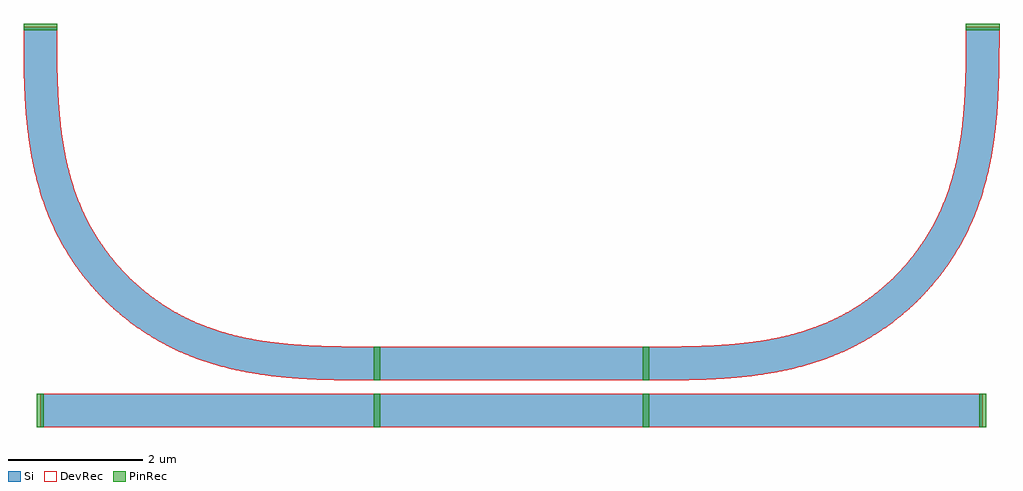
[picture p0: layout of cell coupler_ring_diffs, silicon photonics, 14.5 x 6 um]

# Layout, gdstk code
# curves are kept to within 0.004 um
import gdstk
lib = gdstk.Library(unit=1e-6, precision=1e-09)
def R(c, l, rs):  # rectangles x0, y0, x1, y1
    for r in rs: c.add(gdstk.rectangle(r[:2], r[2:], *l))
def P(c, l, *ps):  # polygons
    for p in ps: c.add(gdstk.Polygon(p, *l))
Si = (1, 0)
PinRec = (1, 10)
DevRec = (68, 0)

coupler_ring_old = lib.new_cell('coupler_ring_old')
R(coupler_ring_old, Si, [(-9,-0.25,-4,0.25), (-4,-0.25,0,0.25), (0,-0.25,5,0.25), (-4,0.45,0,0.95)])
P(coupler_ring_old, Si, [(-4.023,0.45),(-4.587,0.453),(-5.086,0.471),(-5.494,0.505),(-5.926,0.568),(-6.286,0.648),(-6.57,0.732),(-6.826,0.828),(-6.987,0.899),(-7.131,0.971),(-5.057,0.971),(-4.578,0.953),(-4,0.95),(-4,0.45)],
  [(-7.145,0.978),(-7.406,1.129),(-7.593,1.256),(-7.714,1.347),(-7.888,1.492),(-8.017,1.612),(-8.241,1.85),(-7.538,1.85),(-7.318,1.674),(-7.045,1.494),(-6.755,1.342),(-6.452,1.22),(-6.307,1.173),(-6.095,1.115),(-5.77,1.048),(-5.439,1.002),(-5.057,0.971),(-7.131,0.971)],
  [(-8.257,1.869),(-8.429,2.086),(-8.571,2.294),(-8.662,2.445),(-8.801,2.713),(-8.891,2.92),(-8.976,3.154),(-9.046,3.391),(-9.108,3.654),(-8.596,3.654),(-8.527,3.393),(-8.45,3.166),(-8.358,2.945),(-8.206,2.655),(-8.064,2.435),(-7.891,2.21),(-7.73,2.032),(-7.538,1.85),(-8.241,1.85)],
  [(-9.113,3.678),(-9.171,4.014),(-9.205,4.302),(-9.226,4.566),(-9.245,5.018),(-9.25,5.7),(-8.75,5.7),(-8.744,4.984),(-8.719,4.485),(-8.698,4.261),(-8.666,4.018),(-8.596,3.654),(-9.108,3.654)],
  [(0.023,0.45),(0.587,0.453),(1.086,0.471),(1.494,0.505),(1.926,0.568),(2.286,0.648),(2.57,0.732),(2.826,0.828),(2.987,0.899),(3.131,0.971),(1.057,0.971),(0.578,0.953),(0,0.95),(0,0.45)],
  [(3.145,0.978),(3.406,1.129),(3.593,1.256),(3.714,1.347),(3.888,1.492),(4.017,1.612),(4.241,1.85),(3.538,1.85),(3.318,1.674),(3.045,1.494),(2.755,1.342),(2.452,1.22),(2.307,1.173),(2.095,1.115),(1.77,1.048),(1.439,1.002),(1.057,0.971),(3.131,0.971)],
  [(4.257,1.869),(4.429,2.086),(4.571,2.294),(4.662,2.445),(4.801,2.713),(4.891,2.92),(4.976,3.154),(5.046,3.391),(5.108,3.654),(4.596,3.654),(4.527,3.393),(4.45,3.166),(4.358,2.945),(4.206,2.655),(4.064,2.435),(3.891,2.21),(3.73,2.032),(3.538,1.85),(4.241,1.85)],
  [(5.113,3.678),(5.171,4.014),(5.205,4.302),(5.226,4.566),(5.245,5.018),(5.25,5.7),(4.75,5.7),(4.744,4.984),(4.719,4.485),(4.698,4.261),(4.666,4.018),(4.596,3.654),(5.108,3.654)])
coupler_ring_old.add(gdstk.FlexPath([(-4.05,0.7),(-3.95,0.7)], 0.5, ends="flush", simple_path=True, layer=1, datatype=10))  # PinRec
coupler_ring_old.add(gdstk.FlexPath([(-9,5.65),(-9,5.75)], 0.5, ends="flush", simple_path=True, layer=1, datatype=10))  # PinRec
coupler_ring_old.add(gdstk.FlexPath([(-4.05,0),(-3.95,0)], 0.5, ends="flush", simple_path=True, layer=1, datatype=10))  # PinRec
coupler_ring_old.add(gdstk.FlexPath([(-8.95,0),(-9.05,0)], 0.5, ends="flush", simple_path=True, layer=1, datatype=10))  # PinRec
coupler_ring_old.add(gdstk.FlexPath([(-3.95,0.7),(-4.05,0.7)], 0.5, ends="flush", simple_path=True, layer=1, datatype=10))  # PinRec
coupler_ring_old.add(gdstk.FlexPath([(-0.05,0.7),(0.05,0.7)], 0.5, ends="flush", simple_path=True, layer=1, datatype=10))  # PinRec
coupler_ring_old.add(gdstk.FlexPath([(-3.95,0),(-4.05,0)], 0.5, ends="flush", simple_path=True, layer=1, datatype=10))  # PinRec
coupler_ring_old.add(gdstk.FlexPath([(-0.05,0),(0.05,0)], 0.5, ends="flush", simple_path=True, layer=1, datatype=10))  # PinRec
coupler_ring_old.add(gdstk.FlexPath([(0.05,0.7),(-0.05,0.7)], 0.5, ends="flush", simple_path=True, layer=1, datatype=10))  # PinRec
coupler_ring_old.add(gdstk.FlexPath([(5,5.65),(5,5.75)], 0.5, ends="flush", simple_path=True, layer=1, datatype=10))  # PinRec
coupler_ring_old.add(gdstk.FlexPath([(0.05,0),(-0.05,0)], 0.5, ends="flush", simple_path=True, layer=1, datatype=10))  # PinRec
coupler_ring_old.add(gdstk.FlexPath([(4.95,0),(5.05,0)], 0.5, ends="flush", simple_path=True, layer=1, datatype=10))  # PinRec
coupler_ring_old.add(gdstk.Label('o1', (-4,0.7), layer=1, texttype=10))
coupler_ring_old.add(gdstk.Label('o2', (-9,5.7), layer=1, texttype=10))
coupler_ring_old.add(gdstk.Label('o1', (-4,0), layer=1, texttype=10))
coupler_ring_old.add(gdstk.Label('o2', (-9,0), layer=1, texttype=10))
coupler_ring_old.add(gdstk.Label('o1', (-4,0.7), layer=1, texttype=10))
coupler_ring_old.add(gdstk.Label('o2', (0,0.7), layer=1, texttype=10))
coupler_ring_old.add(gdstk.Label('o1', (-4,0), layer=1, texttype=10))
coupler_ring_old.add(gdstk.Label('o2', (0,0), layer=1, texttype=10))
coupler_ring_old.add(gdstk.Label('o1', (0,0.7), layer=1, texttype=10))
coupler_ring_old.add(gdstk.Label('o2', (5,5.7), layer=1, texttype=10))
coupler_ring_old.add(gdstk.Label('o1', (0,0), layer=1, texttype=10))
coupler_ring_old.add(gdstk.Label('o2', (5,0), layer=1, texttype=10))

coupler_ring_new = lib.new_cell('coupler_ring_new')
R(coupler_ring_new, Si, [(-9,-0.25,-4,0.25), (-4,-0.25,0,0.25), (0,-0.25,5,0.25), (-4,0.45,0,0.95)])
P(coupler_ring_new, Si, [(-4.023,0.45),(-4.587,0.453),(-5.086,0.471),(-5.494,0.505),(-5.926,0.568),(-6.286,0.648),(-6.57,0.732),(-6.826,0.828),(-6.987,0.899),(-7.131,0.971),(-5.057,0.971),(-4.578,0.953),(-4,0.95),(-4,0.45)],
  [(-7.145,0.978),(-7.406,1.129),(-7.593,1.256),(-7.714,1.347),(-7.888,1.492),(-8.017,1.612),(-8.241,1.85),(-7.538,1.85),(-7.318,1.674),(-7.045,1.494),(-6.755,1.342),(-6.452,1.22),(-6.307,1.173),(-6.095,1.115),(-5.77,1.048),(-5.439,1.002),(-5.057,0.971),(-7.131,0.971)],
  [(-8.257,1.869),(-8.429,2.086),(-8.571,2.294),(-8.662,2.445),(-8.801,2.713),(-8.891,2.92),(-8.976,3.154),(-9.046,3.391),(-9.108,3.654),(-8.596,3.654),(-8.527,3.393),(-8.45,3.166),(-8.358,2.945),(-8.206,2.655),(-8.064,2.435),(-7.891,2.21),(-7.73,2.032),(-7.538,1.85),(-8.241,1.85)],
  [(-9.113,3.678),(-9.171,4.014),(-9.205,4.302),(-9.226,4.566),(-9.245,5.018),(-9.25,5.7),(-8.75,5.7),(-8.744,4.984),(-8.719,4.485),(-8.698,4.261),(-8.666,4.018),(-8.596,3.654),(-9.108,3.654)],
  [(0.023,0.45),(0.587,0.453),(1.086,0.471),(1.494,0.505),(1.926,0.568),(2.286,0.648),(2.57,0.732),(2.826,0.828),(2.987,0.899),(3.131,0.971),(1.057,0.971),(0.578,0.953),(0,0.95),(0,0.45)],
  [(3.145,0.978),(3.406,1.129),(3.593,1.256),(3.714,1.347),(3.888,1.492),(4.017,1.612),(4.241,1.85),(3.538,1.85),(3.318,1.674),(3.045,1.494),(2.755,1.342),(2.452,1.22),(2.307,1.173),(2.095,1.115),(1.77,1.048),(1.439,1.002),(1.057,0.971),(3.131,0.971)],
  [(4.257,1.869),(4.429,2.086),(4.571,2.294),(4.662,2.445),(4.801,2.713),(4.891,2.92),(4.976,3.154),(5.046,3.391),(5.108,3.654),(4.596,3.654),(4.527,3.393),(4.45,3.166),(4.358,2.945),(4.206,2.655),(4.064,2.435),(3.891,2.21),(3.73,2.032),(3.538,1.85),(4.241,1.85)],
  [(5.113,3.678),(5.171,4.014),(5.205,4.302),(5.226,4.566),(5.245,5.018),(5.25,5.7),(4.75,5.7),(4.744,4.984),(4.719,4.485),(4.698,4.261),(4.666,4.018),(4.596,3.654),(5.108,3.654)])
R(coupler_ring_new, DevRec, [(-9,-0.25,-4,0.25), (-4,-0.25,0,0.25), (0,-0.25,5,0.25), (-4,0.45,0,0.95)])
P(coupler_ring_new, DevRec, [(-4.023,0.45),(-4.587,0.453),(-5.086,0.471),(-5.494,0.505),(-5.926,0.568),(-6.286,0.648),(-6.57,0.732),(-6.826,0.828),(-6.987,0.899),(-7.131,0.971),(-5.057,0.971),(-4.578,0.953),(-4,0.95),(-4,0.45)],
  [(-7.145,0.978),(-7.406,1.129),(-7.593,1.256),(-7.714,1.347),(-7.888,1.492),(-8.017,1.612),(-8.241,1.85),(-7.538,1.85),(-7.318,1.674),(-7.045,1.494),(-6.755,1.342),(-6.452,1.22),(-6.307,1.173),(-6.095,1.115),(-5.77,1.048),(-5.439,1.002),(-5.057,0.971),(-7.131,0.971)],
  [(-8.257,1.869),(-8.429,2.086),(-8.571,2.294),(-8.662,2.445),(-8.801,2.713),(-8.891,2.92),(-8.976,3.154),(-9.046,3.391),(-9.108,3.654),(-8.596,3.654),(-8.527,3.393),(-8.45,3.166),(-8.358,2.945),(-8.206,2.655),(-8.064,2.435),(-7.891,2.21),(-7.73,2.032),(-7.538,1.85),(-8.241,1.85)],
  [(-9.113,3.678),(-9.171,4.014),(-9.205,4.302),(-9.226,4.566),(-9.245,5.018),(-9.25,5.7),(-8.75,5.7),(-8.744,4.984),(-8.719,4.485),(-8.698,4.261),(-8.666,4.018),(-8.596,3.654),(-9.108,3.654)],
  [(0.023,0.45),(0.587,0.453),(1.086,0.471),(1.494,0.505),(1.926,0.568),(2.286,0.648),(2.57,0.732),(2.826,0.828),(2.987,0.899),(3.131,0.971),(1.057,0.971),(0.578,0.953),(0,0.95),(0,0.45)],
  [(3.145,0.978),(3.406,1.129),(3.593,1.256),(3.714,1.347),(3.888,1.492),(4.017,1.612),(4.241,1.85),(3.538,1.85),(3.318,1.674),(3.045,1.494),(2.755,1.342),(2.452,1.22),(2.307,1.173),(2.095,1.115),(1.77,1.048),(1.439,1.002),(1.057,0.971),(3.131,0.971)],
  [(4.257,1.869),(4.429,2.086),(4.571,2.294),(4.662,2.445),(4.801,2.713),(4.891,2.92),(4.976,3.154),(5.046,3.391),(5.108,3.654),(4.596,3.654),(4.527,3.393),(4.45,3.166),(4.358,2.945),(4.206,2.655),(4.064,2.435),(3.891,2.21),(3.73,2.032),(3.538,1.85),(4.241,1.85)],
  [(5.113,3.678),(5.171,4.014),(5.205,4.302),(5.226,4.566),(5.245,5.018),(5.25,5.7),(4.75,5.7),(4.744,4.984),(4.719,4.485),(4.698,4.261),(4.666,4.018),(4.596,3.654),(5.108,3.654)])
coupler_ring_new.add(gdstk.FlexPath([(-4.05,0.7),(-3.95,0.7)], 0.5, ends="flush", simple_path=True, layer=1, datatype=10))  # PinRec
coupler_ring_new.add(gdstk.FlexPath([(-9,5.65),(-9,5.75)], 0.5, ends="flush", simple_path=True, layer=1, datatype=10))  # PinRec
coupler_ring_new.add(gdstk.FlexPath([(-4.05,0),(-3.95,0)], 0.5, ends="flush", simple_path=True, layer=1, datatype=10))  # PinRec
coupler_ring_new.add(gdstk.FlexPath([(-8.95,0),(-9.05,0)], 0.5, ends="flush", simple_path=True, layer=1, datatype=10))  # PinRec
coupler_ring_new.add(gdstk.FlexPath([(-3.95,0.7),(-4.05,0.7)], 0.5, ends="flush", simple_path=True, layer=1, datatype=10))  # PinRec
coupler_ring_new.add(gdstk.FlexPath([(-0.05,0.7),(0.05,0.7)], 0.5, ends="flush", simple_path=True, layer=1, datatype=10))  # PinRec
coupler_ring_new.add(gdstk.FlexPath([(-3.95,0),(-4.05,0)], 0.5, ends="flush", simple_path=True, layer=1, datatype=10))  # PinRec
coupler_ring_new.add(gdstk.FlexPath([(-0.05,0),(0.05,0)], 0.5, ends="flush", simple_path=True, layer=1, datatype=10))  # PinRec
coupler_ring_new.add(gdstk.FlexPath([(0.05,0.7),(-0.05,0.7)], 0.5, ends="flush", simple_path=True, layer=1, datatype=10))  # PinRec
coupler_ring_new.add(gdstk.FlexPath([(5,5.65),(5,5.75)], 0.5, ends="flush", simple_path=True, layer=1, datatype=10))  # PinRec
coupler_ring_new.add(gdstk.FlexPath([(0.05,0),(-0.05,0)], 0.5, ends="flush", simple_path=True, layer=1, datatype=10))  # PinRec
coupler_ring_new.add(gdstk.FlexPath([(4.95,0),(5.05,0)], 0.5, ends="flush", simple_path=True, layer=1, datatype=10))  # PinRec
coupler_ring_new.add(gdstk.Label('o1', (-4,0.7), layer=1, texttype=10))
coupler_ring_new.add(gdstk.Label('o2', (-9,5.7), layer=1, texttype=10))
coupler_ring_new.add(gdstk.Label('o1', (-4,0), layer=1, texttype=10))
coupler_ring_new.add(gdstk.Label('o2', (-9,0), layer=1, texttype=10))
coupler_ring_new.add(gdstk.Label('o1', (-4,0.7), layer=1, texttype=10))
coupler_ring_new.add(gdstk.Label('o2', (0,0.7), layer=1, texttype=10))
coupler_ring_new.add(gdstk.Label('o1', (-4,0), layer=1, texttype=10))
coupler_ring_new.add(gdstk.Label('o2', (0,0), layer=1, texttype=10))
coupler_ring_new.add(gdstk.Label('o1', (0,0.7), layer=1, texttype=10))
coupler_ring_new.add(gdstk.Label('o2', (5,5.7), layer=1, texttype=10))
coupler_ring_new.add(gdstk.Label('o1', (0,0), layer=1, texttype=10))
coupler_ring_new.add(gdstk.Label('o2', (5,0), layer=1, texttype=10))

coupler_ring_diffs = lib.new_cell('coupler_ring_diffs')
coupler_ring_diffs.add(gdstk.Reference(coupler_ring_old, (0,0)))
coupler_ring_diffs.add(gdstk.Reference(coupler_ring_new, (0,0)))

lib.write_gds('coupler_ring_diffs.gds')
